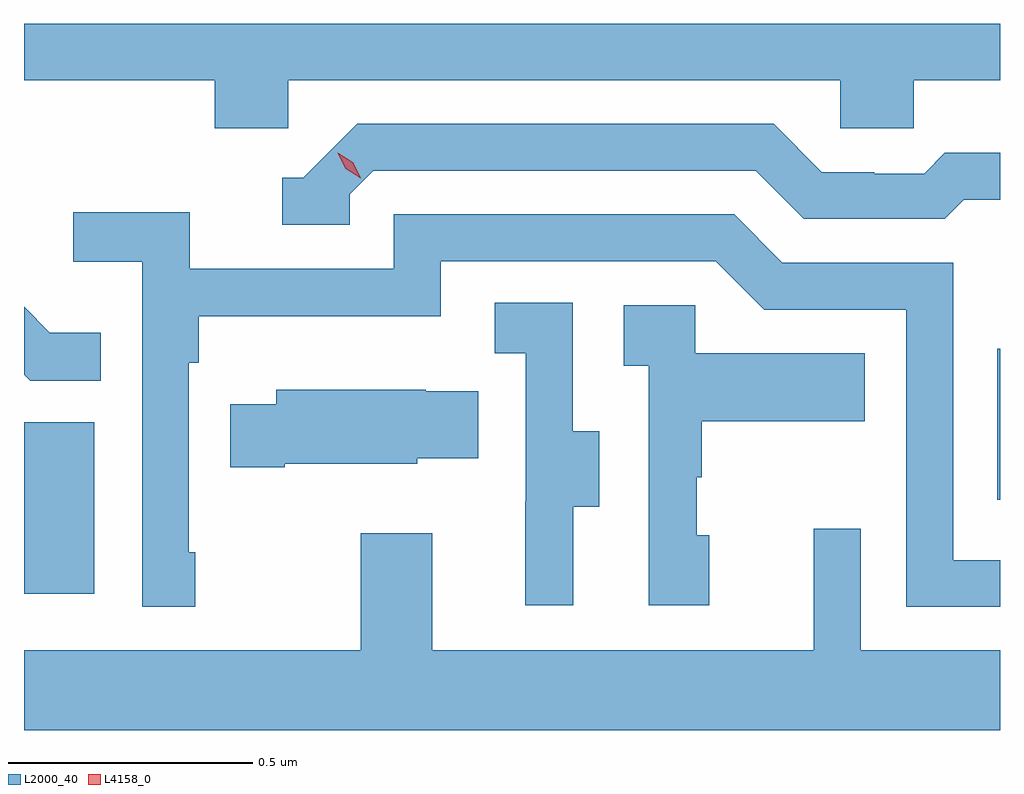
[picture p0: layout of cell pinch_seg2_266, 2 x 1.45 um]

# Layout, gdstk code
import gdstk
lib = gdstk.Library(unit=1e-6, precision=1e-09)
def R(c, l, rs):  # rectangles x0, y0, x1, y1
    for r in rs: c.add(gdstk.rectangle(r[:2], r[2:], *l))
def P(c, l, *ps):  # polygons
    for p in ps: c.add(gdstk.Polygon(p, *l))
L2000_40 = (2000, 40)
L4158_0 = (4158, 0)

pinch_seg2_266 = lib.new_cell('pinch_seg2_266')
R(pinch_seg2_266, L2000_40, [(901.954,665.232,902.098,665.583), (903.948,665.424,903.954,665.734)])
P(pinch_seg2_266, L2000_40, [(902.496,666.284),(903.627,666.284),(903.627,666.186),(903.777,666.186),(903.777,666.284),(903.954,666.284),(903.954,666.4),(901.954,666.4),(901.954,666.284),(902.345,666.284),(902.345,666.186),(902.496,666.186)],
  [(902.622,666.051),(902.67,666.099),(903.453,666.099),(903.552,666),(903.841,666),(903.88,666.039),(903.954,666.039),(903.954,666.136),(903.841,666.136),(903.799,666.093),(903.696,666.093),(903.696,666.096),(903.589,666.096),(903.49,666.195),(902.637,666.195),(902.526,666.084),(902.483,666.084),(902.483,665.988),(902.622,665.988)],
  [(902.305,665.317),(902.292,665.317),(902.292,665.705),(902.312,665.705),(902.312,665.801),(902.808,665.801),(902.808,665.913),(903.372,665.913),(903.471,665.814),(903.762,665.814),(903.762,665.205),(903.954,665.205),(903.954,665.301),(903.858,665.301),(903.858,665.91),(903.508,665.91),(903.409,666.009),(902.712,666.009),(902.712,665.898),(902.294,665.898),(902.294,666.014),(902.055,666.014),(902.055,665.912),(902.196,665.912),(902.196,665.205),(902.305,665.205)],
  [(903.079,665.41),(903.133,665.41),(903.133,665.565),(903.078,665.565),(903.078,665.828),(902.919,665.828),(902.919,665.725),(902.982,665.725),(902.982,665.421),(902.981,665.421),(902.981,665.208),(903.079,665.208)],
  [(903.358,665.352),(903.333,665.352),(903.333,665.471),(903.343,665.471),(903.343,665.585),(903.677,665.585),(903.677,665.725),(903.33,665.725),(903.33,665.823),(903.183,665.823),(903.183,665.699),(903.234,665.699),(903.234,665.208),(903.358,665.208)],
  [(902.111,665.767),(902.007,665.767),(901.954,665.82),(901.954,665.681),(901.967,665.668),(902.111,665.668)],
  [(902.488,665.498),(902.76,665.498),(902.76,665.51),(902.885,665.51),(902.885,665.647),(902.777,665.647),(902.777,665.65),(902.471,665.65),(902.471,665.62),(902.377,665.62),(902.377,665.491),(902.488,665.491)],
  [(903.954,665.116),(903.669,665.116),(903.669,665.365),(903.572,665.365),(903.572,665.116),(902.791,665.116),(902.791,665.356),(902.644,665.356),(902.644,665.116),(901.954,665.116),(901.954,664.952),(903.954,664.952)])
P(pinch_seg2_266, L4158_0, [(902.644,666.083),(902.613,666.103),(902.597,666.135),(902.597,666.136),(902.597,666.136),(902.628,666.116),(902.644,666.084),(902.644,666.083)])

lib.write_gds('pinch_seg2_266.gds')
